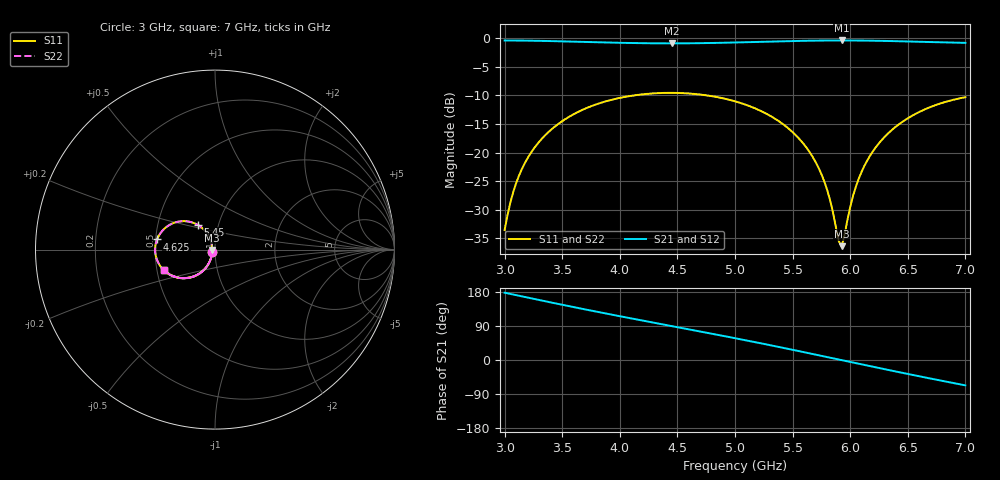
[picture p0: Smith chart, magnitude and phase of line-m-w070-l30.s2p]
! yapnr rf: line-osh-m-w0p70-l30-m-eq, footprint re-simulated (optimization grid)
! spec sha256 2b14f09414fe5124b2a66d810472f7a5070febd8e6cda128ebeb37b74ed78107
! 2 ports renormalized to 50 ohm, e^(+jwt) convention
# GHz S RI R 50
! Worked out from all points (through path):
!   161 points, 3 GHz to 7 GHz, reference 50 ohm
!   highest |S21| = -0.38 dB at 5.925 GHz (marker M1); lowest = -0.9 dB at 4.45 GHz (marker M2)
!   group delay of S21, straight-line fit = 169 ps
!   lowest |S11| = -36.3 dB at 5.925 GHz (marker M3), VSWR 1.03, Z = 48.5 - j0.175 ohm
!   |S11| at or under -10 dB: start of sweep to 4.118 GHz; 4.761 GHz to end of sweep
!   |S22| runs from -36.3 to -9.5 dB; largest |S21 - S12| = 0
!   S11 on the Smith chart (normalised r, x): 3 GHz: 0.97, -0.03; 4.625 GHz: 0.51, +0.06; 5.45 GHz: 0.80, +0.23; 7 GHz: 0.55, -0.14
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3  -0.0156 -0.0141  -0.9563 0.0411  -0.9563 0.0411  -0.0156 -0.0141
3.05  -0.0181 -0.0319  -0.9521 0.0947  -0.9521 0.0947  -0.0181 -0.0319
3.1  -0.0226 -0.0492  -0.9445 0.1479  -0.9445 0.1479  -0.0226 -0.0492
3.225  -0.0419 -0.0892  -0.9116 0.2772  -0.9116 0.2772  -0.0419 -0.0892
3.425  -0.0925 -0.1374  -0.8212 0.4661  -0.8212 0.4661  -0.0925 -0.1374
3.675  -0.1744 -0.16  -0.6574 0.6583  -0.6574 0.6583  -0.1744 -0.16
4  -0.2743 -0.1248  -0.3938 0.8239  -0.3938 0.8239  -0.2743 -0.1248
4.35  -0.3308 -0.03  -0.083 0.8994  -0.083 0.8994  -0.3308 -0.03
4.45  -0.3335 0.00178  0.00733 0.9027  0.00733 0.9027  -0.3335 0.00178
4.625  -0.3229 0.0564  0.1652 0.8894  0.1652 0.8894  -0.3229 0.0564
5  -0.242 0.1434  0.4925 0.7756  0.4925 0.7756  -0.242 0.1434
5.45  -0.0952 0.1375  0.8166 0.4732  0.8166 0.4732  -0.0952 0.1375
5.675  -0.0388 0.083  0.9172 0.2599  0.9172 0.2599  -0.0388 0.083
5.8  -0.021 0.0424  0.9475 0.1296  0.9475 0.1296  -0.021 0.0424
5.9  -0.0153 0.00714  0.957 0.0224  0.957 0.0224  -0.0153 0.00714
5.925  -0.0151 -0.0018  0.9573 -0.00458  0.9573 -0.00458  -0.0151 -0.0018
6.025  -0.0194 -0.0372  0.95 -0.112  0.95 -0.112  -0.0194 -0.0372
6.1  -0.0278 -0.0626  0.9358 -0.1913  0.9358 -0.1913  -0.0278 -0.0626
6.2  -0.0452 -0.0934  0.9059 -0.2937  0.9059 -0.2937  -0.0452 -0.0934
6.35  -0.0826 -0.1302  0.8392 -0.4366  0.8392 -0.4366  -0.0826 -0.1302
6.625  -0.1711 -0.1589  0.6634 -0.6533  0.6634 -0.6533  -0.1711 -0.1589
7  -0.2834 -0.1144  0.3567 -0.8391  0.3567 -0.8391  -0.2834 -0.1144
